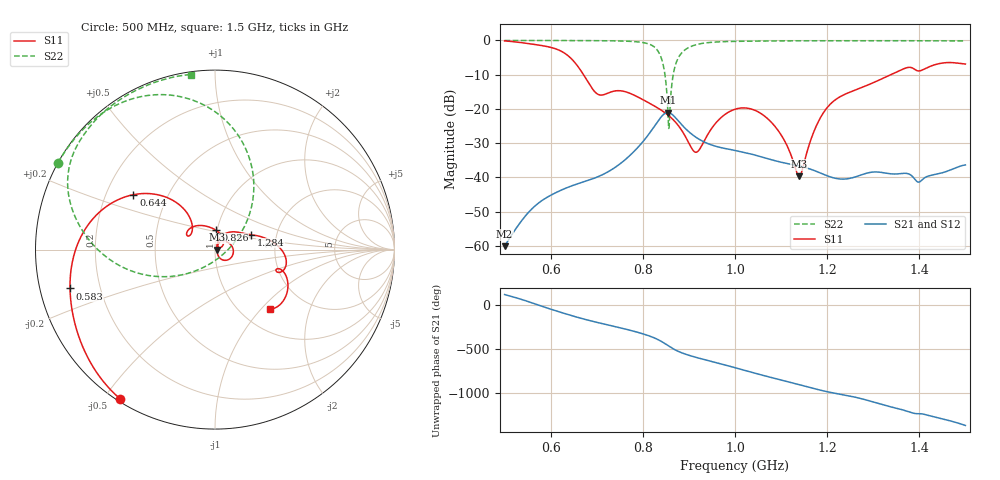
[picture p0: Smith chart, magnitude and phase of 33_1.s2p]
! TOUCHSTONE file generated by CST MICROWAVE STUDIO
! Date and time: Mon Oct 26 12:09:23 2020
! Project name: Scenario_1_Circular_Tissue_out_of_Line_v2.cst
! Parameters = {dy1=207.6; L_HA=400; MT=2.54; Rad_Dielectric=30; Rad_Lower=7.3; Rad_Upper=30; a_HA=580; a_WG=246; b_HA=500; b_WG=121; c_HA=0; c_WG=187; d_feed=85; dx1=173; h_feed=15; h_lower=18; h_upper=40}
! Header version: 2018
! Port assignment regex: !\s*Touchstone port\s*([0-9]+)\s*=\s*(CST MWS port|CST DS port)\s*([0-9]+|Zmin|Zmax)\s*\(\"(.*)\"\)(\s*mode\s*([0-9]+))?.*
! Touchstone port assignment:
! Touchstone port 1 = CST MWS port 1 ("")
! Touchstone port 2 = CST MWS port 2 ("")
# GHz S DB R 50
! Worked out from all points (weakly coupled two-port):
!   1003 points, 500 MHz to 1.5 GHz, reference 50 ohm
!   highest |S21| = -21.05 dB at 854 MHz (marker M1); lowest = -60.1 dB at 500 MHz (marker M2)
!   lowest |S11| = -39.6 dB at 1.139 GHz (marker M3), VSWR 1.02, Z = 51.1 + j0.0196 ohm
!   |S11| at or under -10 dB: 671.2 MHz to 1.338 GHz (666.8 MHz wide, 66.4 % of centre)
!   |S22| runs from -25.7 to 0.0 dB; largest |S21 - S12| = 2.5e-05
!   S11 on the Smith chart (normalised r, x): 500 MHz: 0.01, -0.55; 583 MHz: 0.09, -0.13; 644 MHz: 0.32, +0.28; 826 MHz: 0.98, +0.22; 1.284 GHz: 1.48, +0.26; 1.5 GHz: 1.34, -1.12
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0.5  -0.13 -122.5  -60.06 116.5  -60.06 116.5  -0.01 151.1
0.583  -1.55 -165.0  -46.57 -20.2  -46.57 -20.2  -0.02 145.4
0.644  -5.23 146.0  -42.54 -120.9  -42.54 -120.9  -0.03 140.5
0.667  -9.12 129.9  -41.48 -155.3  -41.48 -155.3  -0.04 138.4
0.704  -15.82 142.7  -39.71 155.5  -39.71 155.5  -0.07 134.4
0.775  -15.61 126.4  -33.19 66.8  -33.19 66.8  -0.28 121.8
0.826  -19.22 88.5  -24.89 -19.0  -24.89 -19.0  -2.03 92.5
0.834  -19.86 81.2  -23.35 -38.7  -23.35 -38.7  -3.34 81.3
0.845  -20.82 70.2  -21.60 -71.4  -21.60 -71.4  -7.68 58.4
0.854  -21.72 60.5  -21.05 -102.1  -21.05 -102.1  -19.66 16.6
0.859  -22.27 54.8  -21.21 -119.1  -21.21 -119.1  -19.62 -118.5
0.873  -24.19 38.8  -22.87 -160.2  -22.87 -160.2  -6.27 -166.1
0.896  -28.97 20.8  -26.19 152.6  -26.19 152.6  -2.33 170.2
0.918  -32.54 44.6  -28.51 118.5  -28.51 118.5  -1.16 159.0
1  -20.09 6.1  -32.12 5.2  -32.12 5.2  -0.27 140.1
1.077  -23.64 -56.3  -34.76 -104.6  -34.76 -104.6  -0.15 131.8
1.139  -39.63 1.1  -36.66 172.3  -36.66 172.3  -0.11 126.5
1.167  -28.08 69.7  -37.73 133.3  -37.73 133.3  -0.10 124.2
1.209  -18.31 52.0  -39.93 82.0  -39.93 82.0  -0.09 121.0
1.284  -13.25 22.6  -38.83 -1.1  -38.83 -1.2  -0.08 115.3
1.334  -10.25 10.0  -38.88 -75.1  -38.89 -75.1  -0.08 111.5
1.5  -6.89 -47.5  -36.35 68.1  -36.34 68.1  -0.14 97.8
